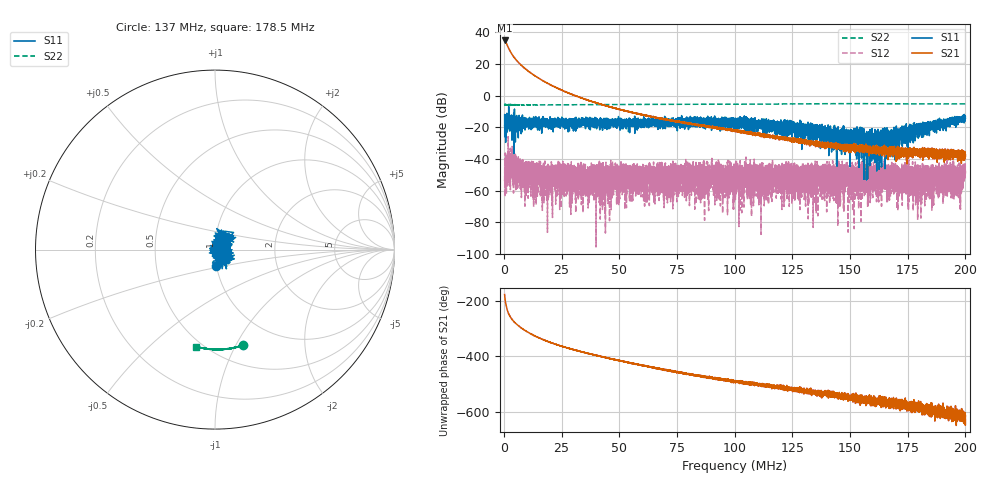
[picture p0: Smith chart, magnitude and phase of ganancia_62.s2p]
# Hz S DB R 50
! CMT, M5065, 19127446, 24.2.4/2
! Date: 11/8/2024 4:21:08 PM
! Data: Format (Calibration Info)
! Freq	S11:dB/Ang(F2)	S21:dB/Ang(F2)	S12:dB/Ang(F2)	S22:dB/Ang(F2)
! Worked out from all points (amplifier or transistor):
!   9000 points, 300 kHz to 200 MHz, reference 50 ohm
!   highest |S21| = 34.9 dB at 366.6 kHz (marker M1)
!   |S21| within 3 dB of that: start of sweep to 1.427 MHz
!   unconditionally stable (mu >= 1): 902.7 kHz to 1.517 MHz; 2.766 MHz to 3.557 MHz; 3.564 MHz to end of sweep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
!   at 33.59 MHz: K = 1171.94, MAG = 0.0 dB, |S12| = -68.9 dB
!   at 100.2 MHz: K = 1616.47, MAG = -19.9 dB, |S12| = -51.8 dB
!   at 200 MHz: K = 5708.83, MAG = -35.7 dB, |S12| = -47.2 dB
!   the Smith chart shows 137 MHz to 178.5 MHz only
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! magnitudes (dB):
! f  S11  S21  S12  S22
! 300 kHz  -19.0  34.8  -53.6  -5.8
! 366.6 kHz  -26.0  34.9  -45.9  -5.8
! 2.763 MHz  -17.3  27.9  -33.3  -6.2
! 4.894 MHz  -14.9  23.3  -50.5  -5.9
! 11.31 MHz  -15.3  14.7  -55.7  -5.8
! 20.09 MHz  -16.8  6.9  -60.3  -5.8
! 23.16 MHz  -15.5  4.7  -54.4  -5.8
! 33.59 MHz  -16.7  -1.4  -68.9  -5.7
! 66.87 MHz  -14.5  -14.0  -56.6  -5.5
! 71.27 MHz  -15.0  -15.3  -47.8  -5.5
! 77.24 MHz  -14.8  -16.8  -47.2  -5.5
! 83.23 MHz  -18.4  -18.3  -47.3  -5.5
! 89.49 MHz  -16.1  -19.3  -46.8  -5.4
! 100.2 MHz  -17.1  -21.5  -51.8  -5.4
! 133.4 MHz  -21.1  -30.4  -58.6  -5.1
! 143.3 MHz  -27.6  -31.0  -49.0  -5.1
! 154.8 MHz  -26.7  -32.1  -79.4  -5.1
! 156.6 MHz  -29.2  -32.9  -52.1  -5.1
! 166.7 MHz  -23.9  -36.5  -56.0  -5.1
! 169 MHz  -20.0  -37.3  -57.4  -5.1
! 196.9 MHz  -16.9  -37.4  -54.5  -5.3
! 200 MHz  -14.2  -37.4  -47.2  -5.3
